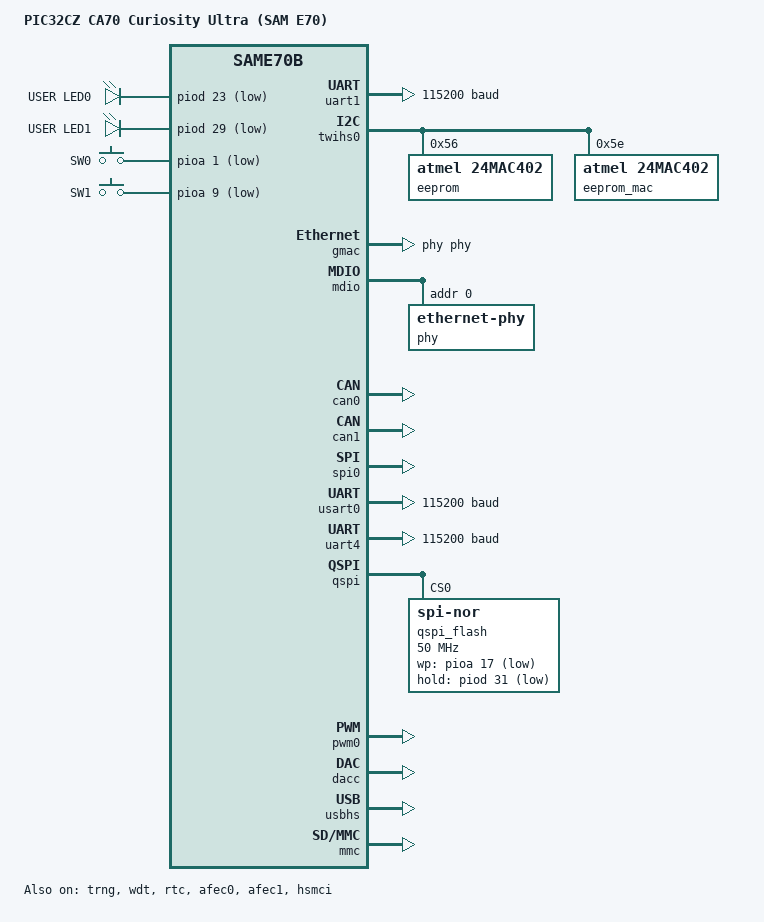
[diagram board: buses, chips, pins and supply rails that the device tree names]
/*
 * SPDX-FileCopyrightText: Copyright The Zephyr Project Contributors
 *
 * SPDX-License-Identifier: Apache-2.0
 */

/*
 * PIC32CZ CA70 Curiosity Ultra described for the SAM E70 rev B SoC support:
 * the PIC32CZ CA70 is SAM E70 rev B silicon.
 */

/dts-v1/;
#include <atmel/same70x21b.dtsi>
#include "sam_e70_cult-pinctrl.dtsi"
#include <zephyr/dt-bindings/input/input-event-codes.h>

/ {
	compatible = "microchip,sam_e70_cult", "atmel,same70q21b", "atmel,same70b";
	model = "PIC32CZ CA70 Curiosity Ultra (SAM E70)";

	chosen {
		zephyr,sram = &sram0;
		zephyr,flash = &flash0;
		zephyr,flash-controller = &eefc;
		zephyr,console = &uart1;
		zephyr,shell-uart = &uart1;
		zephyr,entropy = &trng;
		zephyr,canbus = &can0;
	};

	aliases {
		led0 = &led0;
		led1 = &led1;
		sw0 = &button0;
		sw1 = &button1;
		i2c-0 = &twihs0;
		eeprom-0 = &eeprom;
		rtc = &rtc;
		pwm-0 = &pwm0;
		sdhc0 = &hsmci;
	};

	leds {
		compatible = "gpio-leds";

		led0: led_0 {
			gpios = <&piod 23 GPIO_ACTIVE_LOW>;
			label = "USER LED0";
		};

		led1: led_1 {
			gpios = <&piod 29 GPIO_ACTIVE_LOW>;
			label = "USER LED1";
		};
	};

	gpio_keys {
		compatible = "gpio-keys";

		button0: button_0 {
			gpios = <&pioa 1 (GPIO_ACTIVE_LOW | GPIO_PULL_UP)>;
			label = "SW0";
			zephyr,code = <INPUT_KEY_0>;
		};

		button1: button_1 {
			gpios = <&pioa 9 (GPIO_ACTIVE_LOW | GPIO_PULL_UP)>;
			label = "SW1";
			zephyr,code = <INPUT_KEY_1>;
		};
	};
};

/* 12 MHz crystal, PLLA = 12 MHz * 25 = 300 MHz (SoC Kconfig defaults), MCK 150 MHz. */
&cpu0 {
	clock-frequency = <300000000>;
};

&flash0 {
	partitions {
		ranges;
		#address-cells = <1>;
		#size-cells = <1>;

		/* 64 KB for storage partition, at the end of the flash */
		storage_partition: partition@1f0000 {
			compatible = "zephyr,mapped-partition";
			reg = <0x001f0000 DT_SIZE_K(64)>;
			label = "storage";
		};
	};
};

&uart1 {
	current-speed = <115200>;
	pinctrl-0 = <&uart1_default>;
	pinctrl-names = "default";
	status = "okay";
};

&twihs0 {
	pinctrl-0 = <&twihs0_default>;
	pinctrl-names = "default";
	status = "okay";

	/* AT24MAC402 (U600), A2 A1 A0 = 1 1 0 (jumper J603 sets A0). */
	eeprom: eeprom@56 {
		compatible = "atmel,24mac402", "atmel,at24";
		reg = <0x56>;
		size = <256>;
		pagesize = <16>;
		address-width = <8>;
		timeout = <5>;
	};

	/* Factory programmed serial number and EUI-48 of the AT24MAC402. */
	eeprom_mac: eeprom@5e {
		compatible = "atmel,24mac402", "atmel,at24";
		reg = <0x5e>;
		size = <256>;
		pagesize = <16>;
		address-width = <8>;
		timeout = <5>;
		read-only;

		nvmem-layout {
			compatible = "fixed-layout";
			#address-cells = <1>;
			#size-cells = <1>;

			mac_address: mac-address@9a {
				reg = <0x9a 6>;
				#nvmem-cell-cells = <0>;
			};
		};
	};
};

/* RMII PHY daughter board (for example LAN8720A) on header J700/J701. */
&gmac {
	pinctrl-0 = <&gmac_rmii>;
	pinctrl-names = "default";
	nvmem-cells = <&mac_address>;
	nvmem-cell-names = "mac-address";
	phy-handle = <&phy>;
	status = "okay";
};

&mdio {
	pinctrl-0 = <&mdio_default>;
	pinctrl-names = "default";
	status = "okay";

	phy: ethernet-phy@0 {
		compatible = "ethernet-phy";
		reg = <0>;
		status = "okay";
	};
};

&trng {
	status = "okay";
};

&wdt {
	status = "okay";
};

/* The ATA6561 standby inputs are tied low: the transceivers are always active. */
&can0 {
	pinctrl-0 = <&can0_default>;
	pinctrl-names = "default";
	status = "okay";

	can-transceiver {
		max-bitrate = <5000000>;
	};
};

&can1 {
	pinctrl-0 = <&can1_default>;
	pinctrl-names = "default";
	status = "okay";

	can-transceiver {
		max-bitrate = <5000000>;
	};
};

/* Chip selects: Arduino D10 (PD25) and mikroBUS CS (PC18). */
&spi0 {
	pinctrl-0 = <&spi0_default>;
	pinctrl-names = "default";
	cs-gpios = <&piod 25 GPIO_ACTIVE_LOW>, <&pioc 18 GPIO_ACTIVE_LOW>;
	dmas = <&xdmac 1 DMA_PERID_SPI0_TX>, <&xdmac 2 DMA_PERID_SPI0_RX>;
	dma-names = "tx", "rx";
	status = "okay";
};

&xdmac {
	status = "okay";
};

/* USART0 on the mikroBUS socket; the pins are free for other uses unless USART0 is enabled. */
&usart0 {
	current-speed = <115200>;
	pinctrl-0 = <&usart0_default>;
	pinctrl-names = "default";
};

/* UART4 on J402; the pins are free for other uses unless UART4 is enabled. */
&uart4 {
	current-speed = <115200>;
	pinctrl-0 = <&uart4_default>;
	pinctrl-names = "default";
};

&rtc {
	status = "okay";
};

/* SST26VF032B (U601) on the QSPI lines, used as a single-line SPI flash. */
&qspi {
	pinctrl-0 = <&qspi_default>;
	pinctrl-names = "default";
	status = "okay";

	qspi_flash: flash@0 {
		compatible = "jedec,spi-nor";
		reg = <0>;
		spi-max-frequency = <50000000>;
		size = <DT_SIZE_M(32)>;
		jedec-id = [bf 26 42];
		/*
		 * Basic Flash Parameters read from the device, with only the
		 * 4 KiB sector erase: block erase (D8h) erases 8, 32 or 64 KiB
		 * depending on the address, which the driver cannot handle.
		 */
		sfdp-bfp = [fd 20 f1 ff ff ff ff 01 44 eb 08 6b 08 3b 80 bb
			    fe ff ff ff ff ff 00 ff ff ff 44 0b 0c 20 00 00
			    00 00 00 00 20 91 48 24 80 6f 1d 81 ed 0f 77 38
			    30 b0 30 b0 f7 ff ff ff 29 c2 5c ff f0 30 c0 80];
		requires-ulbpr;
		use-fast-read;
		wp-gpios = <&pioa 17 GPIO_ACTIVE_LOW>;
		hold-gpios = <&piod 31 GPIO_ACTIVE_LOW>;
	};
};

/* Arduino A5 */
&afec0 {
	pinctrl-0 = <&afec0_default>;
	pinctrl-names = "default";
	status = "okay";
};

/* Arduino A0 to A4 */
&afec1 {
	pinctrl-0 = <&afec1_default>;
	pinctrl-names = "default";
	status = "okay";
};

/* Arduino D5 (channel 0), D6 (channel 2) and D9 (channel 3) */
&pwm0 {
	pinctrl-0 = <&pwm0_default>;
	pinctrl-names = "default";
	status = "okay";
};

/*
 * DAC0 is on PB13 (also PWML2). DAC1 is on PD0, the GMAC GTXCK pin, so it
 * cannot be used with Ethernet.
 */
&dacc {
	pinctrl-0 = <&dacc_default>;
	pinctrl-names = "default";
	status = "okay";
};

/* Target USB, micro-AB connector J203 */
zephyr_udc0: &usbhs {
	status = "okay";
};

&hsmci {
	pinctrl-0 = <&hsmci_default>;
	pinctrl-names = "default";
	cd-gpios = <&pioc 16 GPIO_ACTIVE_LOW>;
	status = "okay";

	mmc {
		compatible = "zephyr,sdmmc-disk";
		disk-name = "SD";
		status = "okay";
	};
};
